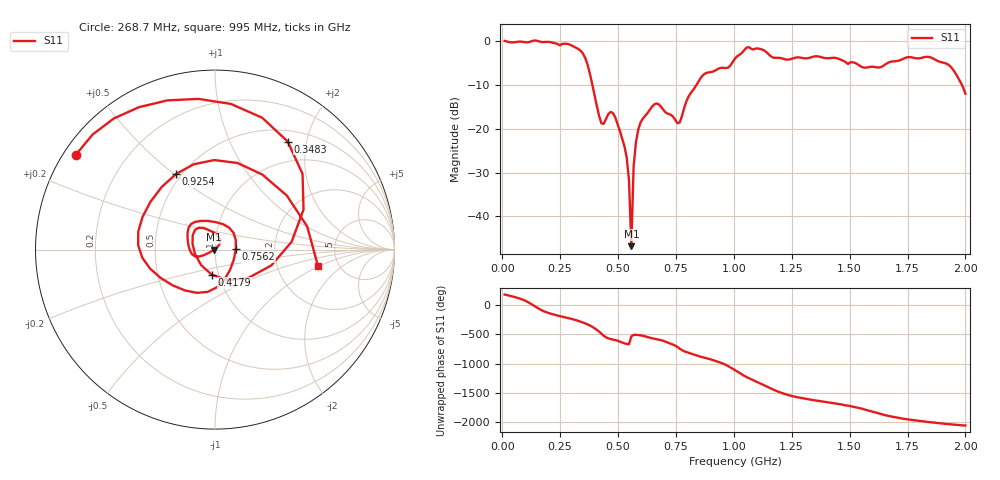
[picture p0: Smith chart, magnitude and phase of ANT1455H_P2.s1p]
!Created with skrf (http://scikit-rf.org).
# Hz S RI R 50.0
!freq ReS11 ImS11
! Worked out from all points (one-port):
!   201 points, 10 MHz to 2 GHz, reference 50 ohm
!   lowest |S11| = -46.8 dB at 557.2 MHz (marker M1), VSWR 1.01, Z = 49.5 - j0.000585 ohm
!   |S11| at or under -10 dB: 389.2 MHz to 838.1 MHz (448.9 MHz wide, 73.2 % of centre); 1.985 GHz to end of sweep
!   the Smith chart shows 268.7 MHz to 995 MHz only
!   S11 on the Smith chart (normalised r, x): 268.7 MHz: 0.03, +0.31; 348.3 MHz: 0.66, +1.68; 417.9 MHz: 0.93, -0.27; 756.2 MHz: 1.26, +0.01; 925.4 MHz: 0.47, +0.51; 995 MHz: 3.49, -0.94
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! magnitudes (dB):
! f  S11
! 10 MHz  0.1
! 258.8 MHz  -0.6
! 268.7 MHz  -0.6
! 348.3 MHz  -2.8
! 378.1 MHz  -7.3
! 417.9 MHz  -17.0
! 437.9 MHz  -18.8
! 477.6 MHz  -16.4
! 507.5 MHz  -20.4
! 537.4 MHz  -26.5
! 547.3 MHz  -31.8
! 557.2 MHz  -46.8
! 567.2 MHz  -28.6
! 577.1 MHz  -23.1
! 597 MHz  -18.5
! 666.7 MHz  -14.2
! 756.2 MHz  -18.7
! 855.8 MHz  -8.5
! 925.4 MHz  -6.5
! 995 MHz  -4.7
! 1.005 GHz  -3.9
! 1.065 GHz  -1.3
! 1.254 GHz  -3.9
! 1.502 GHz  -4.8
! 1.632 GHz  -5.9
! 1.751 GHz  -3.6
! 1.92 GHz  -5.2
! 2 GHz  -12.0
